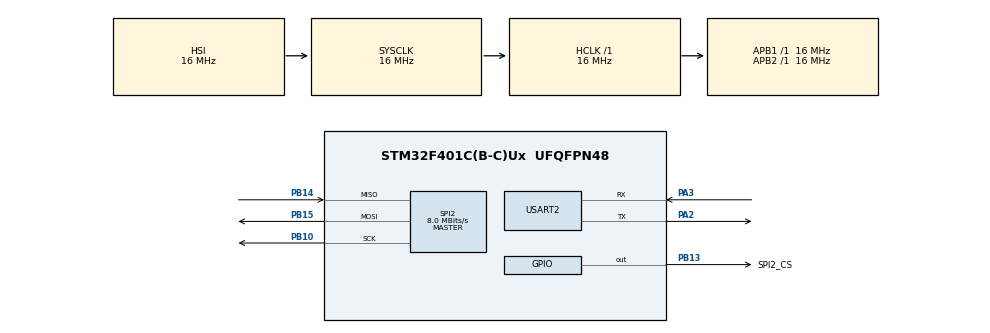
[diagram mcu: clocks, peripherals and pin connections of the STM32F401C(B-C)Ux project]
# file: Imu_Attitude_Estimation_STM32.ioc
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Dma.Request0=SPI2_RX
Dma.Request1=SPI2_TX
Dma.SPI2_RX.0.Direction=DMA_PERIPH_TO_MEMORY
Dma.SPI2_RX.0.FIFOMode=DMA_FIFOMODE_DISABLE
Dma.SPI2_RX.0.Instance=DMA1_Stream3
Dma.SPI2_RX.0.MemDataAlignment=DMA_MDATAALIGN_BYTE
Dma.SPI2_RX.0.MemInc=DMA_MINC_ENABLE
Dma.SPI2_RX.0.Mode=DMA_NORMAL
Dma.SPI2_RX.0.PeriphDataAlignment=DMA_PDATAALIGN_BYTE
Dma.SPI2_RX.0.PeriphInc=DMA_PINC_DISABLE
Dma.SPI2_RX.0.Priority=DMA_PRIORITY_LOW
Dma.SPI2_TX.1.Direction=DMA_MEMORY_TO_PERIPH
Dma.SPI2_TX.1.FIFOMode=DMA_FIFOMODE_DISABLE
Dma.SPI2_TX.1.Instance=DMA1_Stream4
Dma.SPI2_TX.1.MemDataAlignment=DMA_MDATAALIGN_BYTE
Dma.SPI2_TX.1.MemInc=DMA_MINC_ENABLE
Dma.SPI2_TX.1.Mode=DMA_NORMAL
Dma.SPI2_TX.1.PeriphDataAlignment=DMA_PDATAALIGN_BYTE
Dma.SPI2_TX.1.PeriphInc=DMA_PINC_DISABLE
Dma.SPI2_TX.1.Priority=DMA_PRIORITY_LOW
Mcu.Family=STM32F4
Mcu.Name=STM32F401C(B-C)Ux
Mcu.Package=UFQFPN48
NVIC.DMA1_Stream3_IRQn=true\:0\:0\:false\:false\:true\:false\:true\:true
NVIC.DMA1_Stream4_IRQn=true\:0\:0\:false\:false\:true\:false\:true\:true
NVIC.PriorityGroup=NVIC_PRIORITYGROUP_4
NVIC.SPI2_IRQn=true\:0\:0\:false\:false\:true\:true\:true\:true
NVIC.TIM4_IRQn=true\:0\:0\:false\:false\:true\:true\:true\:true
PA2.Mode=Asynchronous
PA2.Signal=USART2_TX
PA3.Mode=Asynchronous
PA3.Signal=USART2_RX
PB10.Mode=Full_Duplex_Master
PB10.Signal=SPI2_SCK
PB13.GPIO_Label=SPI2_CS
PB13.Signal=GPIO_Output
PB14.Mode=Full_Duplex_Master
PB14.Signal=SPI2_MISO
PB15.Mode=Full_Duplex_Master
PB15.Signal=SPI2_MOSI
ProjectManager.HeapSize=0x200
ProjectManager.StackSize=0x400
ProjectManager.TargetToolchain=MDK-ARM V5.32
RCC.AHBFreq_Value=16000000
RCC.APB1Freq_Value=16000000
RCC.APB2Freq_Value=16000000
RCC.CortexFreq_Value=16000000
RCC.HSE_VALUE=25000000
RCC.HSI_VALUE=16000000
RCC.LSE_VALUE=32768
RCC.SYSCLKFreq_VALUE=16000000
RCC.VCOOutputFreq_Value=192000000
SPI2.CalculateBaudRate=8.0 MBits/s
SPI2.Direction=SPI_DIRECTION_2LINES
SPI2.Mode=SPI_MODE_MASTER
SPI2.VirtualType=VM_MASTER
STMicroelectronics.X-CUBE-ALGOBUILD.1.4.0.LibraryCcDSPOoLibraryJjDSPOoLibrary=true
TIM4.Period=9999
TIM4.Prescaler=79
USART2.VirtualMode=VM_ASYNC
VP_STMicroelectronics.X-CUBE-ALGOBUILD_VS_DSPOoLibraryJjLibrary_1.4.0_1.4.0.Mode=DSPOoLibraryJjLibrary
VP_TIM4_VS_ClockSourceINT.Mode=Internal
board=custom

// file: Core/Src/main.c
/* USER CODE BEGIN Header */
/**
  ******************************************************************************
  * @file           : main.c
  * @brief          : Main program body
  ******************************************************************************
  * @attention
  *
  * Copyright (c) 2025 STMicroelectronics.
  * All rights reserved.
  *
  * This software is licensed under terms that can be found in the LICENSE file
  * in the root directory of this software component.
  * If no LICENSE file comes with this software, it is provided AS-IS.
  *
  ******************************************************************************
  */
/* USER CODE END Header */
#include "main.h"

/* USER CODE BEGIN Includes */

#include "stdio.h"
#include "icm_20948.h"
#include "arm_math.h"
#include "imu_data.h"
#include "euler_angles.h"
#include "attitude_complementary.h"
#include "attitude_kalman_extended.h"

/* USER CODE END Includes */

SPI_HandleTypeDef hspi2;
DMA_HandleTypeDef hdma_spi2_rx;
DMA_HandleTypeDef hdma_spi2_tx;

TIM_HandleTypeDef htim4;

UART_HandleTypeDef huart2;

/* USER CODE BEGIN PV */
int sum_gyro_x, sum_gyro_y, sum_gyro_z;
static uint8_t timer_flag = 0;

int16_t mag_x, mag_y, mag_z;
imu_norm imu_norm_var;
euler_angles euler_temp;
quaternion quat_temp;

/* USER CODE END PV */

void SystemClock_Config(void);
static void MX_GPIO_Init(void);
static void MX_DMA_Init(void);
static void MX_SPI2_Init(void);
static void MX_TIM4_Init(void);
static void MX_USART2_UART_Init(void);

/* USER CODE BEGIN 0 */

int16_t kq, kq2;

/* USER CODE END 0 */

int main(void)
{

  /* USER CODE BEGIN 1 */

//	uint8_t address, data;
//	uint32_t test = 0;
	icm_20948_data icm_data;
	int16_t counter_time;

  /* USER CODE END 1 */

  /* MCU Configuration--------------------------------------------------------*/

  /* Reset of all peripherals, Initializes the Flash interface and the Systick. */
  HAL_Init();

  /* Configure the system clock */
  SystemClock_Config();

  /* Initialize all configured peripherals */
  MX_GPIO_Init();
  MX_DMA_Init();
  MX_SPI2_Init();
  MX_TIM4_Init();
  MX_USART2_UART_Init();
  /* USER CODE BEGIN 2 */

	HAL_Delay(100);
	icm_20948_init();
	attitude_init_extended();

//  // SEND SPI
//  HAL_GPIO_WritePin(SPI2_CS_GPIO_Port, SPI2_CS_Pin, GPIO_PIN_RESET);
//  address = 0x7f;
//  data = 0x03 << 4;  // Bank3, SET bit 4 and 5
//  HAL_SPI_Transmit(&hspi2, &address, 1, 100);
//  HAL_SPI_Transmit(&hspi2, &data, 1, 100);
//  HAL_GPIO_WritePin(SPI2_CS_GPIO_Port, SPI2_CS_Pin, GPIO_PIN_SET);

// // SEND - READ SPI
//  HAL_GPIO_WritePin(SPI2_CS_GPIO_Port, SPI2_CS_Pin, GPIO_PIN_RESET); // CS = 0 -> Slave (ICM20948) listen from master
//  address = 0x80 | 0x00;
//  HAL_SPI_Transmit(&hspi2, &address, 1, 100);
//  HAL_SPI_Receive(&hspi2, &data,1, 100);
//  HAL_GPIO_WritePin(SPI2_CS_GPIO_Port, SPI2_CS_Pin, GPIO_PIN_SET);

  /* USER CODE END 2 */

  /* Infinite loop */
  while (1)
  {

    /* USER CODE BEGIN 3 */

		if (timer_flag == 1)
		{
			timer_flag = 0;

			icm_20948_read_data(&icm_data);
			sum_gyro_x += icm_data.x_gyro;
			sum_gyro_y += icm_data.y_gyro;
			sum_gyro_z += icm_data.z_gyro;

			kq = sum_gyro_x;//icm_data.y_magnet;
			kq2 = icm_data.x_accel;
			sensor2imu(icm_data, &imu_norm_var);
		//	run_quaternion_complementary(imu_norm_var, &quat_temp);
		//	complementary_filter_euler(imu_norm_var, &euler_temp);
			run_kalman_extended(imu_norm_var, &quat_temp);
			counter_time++;

			// 1000/30 = 33
			if(counter_time == 30)
			{
				counter_time = 0;
			//	HAL_UART_Transmit(&huart2, (uint8_t *)&euler_temp, 12, 100);
				HAL_UART_Transmit(&huart2, (uint8_t *)&quat_temp, 16, 100);
			}
//			test+=1;
//			HAL_Delay(1000);

//			if(test == 1000)
//			{
//				test = 0;
//			}

		}

  }
  /* USER CODE END 3 */
}

void SystemClock_Config(void)
{
  RCC_OscInitTypeDef RCC_OscInitStruct = {0};
  RCC_ClkInitTypeDef RCC_ClkInitStruct = {0};

  /** Configure the main internal regulator output voltage
  */
  __HAL_RCC_PWR_CLK_ENABLE();
  __HAL_PWR_VOLTAGESCALING_CONFIG(PWR_REGULATOR_VOLTAGE_SCALE2);

  /** Initializes the RCC Oscillators according to the specified parameters
  * in the RCC_OscInitTypeDef structure.
  */
  RCC_OscInitStruct.OscillatorType = RCC_OSCILLATORTYPE_HSI;
  RCC_OscInitStruct.HSIState = RCC_HSI_ON;
  RCC_OscInitStruct.HSICalibrationValue = RCC_HSICALIBRATION_DEFAULT;
  RCC_OscInitStruct.PLL.PLLState = RCC_PLL_NONE;
  if (HAL_RCC_OscConfig(&RCC_OscInitStruct) != HAL_OK)
  {
    Error_Handler();
  }

  /** Initializes the CPU, AHB and APB buses clocks
  */
  RCC_ClkInitStruct.ClockType = RCC_CLOCKTYPE_HCLK|RCC_CLOCKTYPE_SYSCLK
                              |RCC_CLOCKTYPE_PCLK1|RCC_CLOCKTYPE_PCLK2;
  RCC_ClkInitStruct.SYSCLKSource = RCC_SYSCLKSOURCE_HSI;
  RCC_ClkInitStruct.AHBCLKDivider = RCC_SYSCLK_DIV1;
  RCC_ClkInitStruct.APB1CLKDivider = RCC_HCLK_DIV1;
  RCC_ClkInitStruct.APB2CLKDivider = RCC_HCLK_DIV1;

  if (HAL_RCC_ClockConfig(&RCC_ClkInitStruct, FLASH_LATENCY_0) != HAL_OK)
  {
    Error_Handler();
  }
}

static void MX_SPI2_Init(void)
{

  /* SPI2 parameter configuration*/
  hspi2.Instance = SPI2;
  hspi2.Init.Mode = SPI_MODE_MASTER;
  hspi2.Init.Direction = SPI_DIRECTION_2LINES;
  hspi2.Init.DataSize = SPI_DATASIZE_8BIT;
  hspi2.Init.CLKPolarity = SPI_POLARITY_LOW;
  hspi2.Init.CLKPhase = SPI_PHASE_1EDGE;
  hspi2.Init.NSS = SPI_NSS_SOFT;
  hspi2.Init.BaudRatePrescaler = SPI_BAUDRATEPRESCALER_2;
  hspi2.Init.FirstBit = SPI_FIRSTBIT_MSB;
  hspi2.Init.TIMode = SPI_TIMODE_DISABLE;
  hspi2.Init.CRCCalculation = SPI_CRCCALCULATION_DISABLE;
  hspi2.Init.CRCPolynomial = 10;
  if (HAL_SPI_Init(&hspi2) != HAL_OK)
  {
    Error_Handler();
  }

}

static void MX_TIM4_Init(void)
{

  TIM_ClockConfigTypeDef sClockSourceConfig = {0};
  TIM_MasterConfigTypeDef sMasterConfig = {0};

  htim4.Instance = TIM4;
  htim4.Init.Prescaler = 79;
  htim4.Init.CounterMode = TIM_COUNTERMODE_UP;
  htim4.Init.Period = 9999;
  htim4.Init.ClockDivision = TIM_CLOCKDIVISION_DIV1;
  htim4.Init.AutoReloadPreload = TIM_AUTORELOAD_PRELOAD_DISABLE;
  if (HAL_TIM_Base_Init(&htim4) != HAL_OK)
  {
    Error_Handler();
  }
  sClockSourceConfig.ClockSource = TIM_CLOCKSOURCE_INTERNAL;
  if (HAL_TIM_ConfigClockSource(&htim4, &sClockSourceConfig) != HAL_OK)
  {
    Error_Handler();
  }
  sMasterConfig.MasterOutputTrigger = TIM_TRGO_RESET;
  sMasterConfig.MasterSlaveMode = TIM_MASTERSLAVEMODE_DISABLE;
  if (HAL_TIMEx_MasterConfigSynchronization(&htim4, &sMasterConfig) != HAL_OK)
  {
    Error_Handler();
  }
  /* USER CODE BEGIN TIM4_Init 2 */
	htim4.Instance->PSC = SystemCoreClock / (1e6) - 1;
	htim4.Instance->ARR = 1e6 / (SAMPLE_RATE) - 1;
	HAL_TIM_Base_Start_IT(&htim4);
  /* USER CODE END TIM4_Init 2 */

}

static void MX_USART2_UART_Init(void)
{

  huart2.Instance = USART2;
  huart2.Init.BaudRate = 115200;
  huart2.Init.WordLength = UART_WORDLENGTH_8B;
  huart2.Init.StopBits = UART_STOPBITS_1;
  huart2.Init.Parity = UART_PARITY_NONE;
  huart2.Init.Mode = UART_MODE_TX_RX;
  huart2.Init.HwFlowCtl = UART_HWCONTROL_NONE;
  huart2.Init.OverSampling = UART_OVERSAMPLING_16;
  if (HAL_UART_Init(&huart2) != HAL_OK)
  {
    Error_Handler();
  }

}

static void MX_DMA_Init(void)
{

  /* DMA controller clock enable */
  __HAL_RCC_DMA1_CLK_ENABLE();

  /* DMA interrupt init */
  /* DMA1_Stream3_IRQn interrupt configuration */
  HAL_NVIC_SetPriority(DMA1_Stream3_IRQn, 0, 0);
  HAL_NVIC_EnableIRQ(DMA1_Stream3_IRQn);
  /* DMA1_Stream4_IRQn interrupt configuration */
  HAL_NVIC_SetPriority(DMA1_Stream4_IRQn, 0, 0);
  HAL_NVIC_EnableIRQ(DMA1_Stream4_IRQn);

}

static void MX_GPIO_Init(void)
{
  GPIO_InitTypeDef GPIO_InitStruct = {0};

  /* GPIO Ports Clock Enable */
  __HAL_RCC_GPIOA_CLK_ENABLE();
  __HAL_RCC_GPIOB_CLK_ENABLE();

  /*Configure GPIO pin Output Level */
  HAL_GPIO_WritePin(SPI2_CS_GPIO_Port, SPI2_CS_Pin, GPIO_PIN_RESET);

  /*Configure GPIO pin : SPI2_CS_Pin */
  GPIO_InitStruct.Pin = SPI2_CS_Pin;
  GPIO_InitStruct.Mode = GPIO_MODE_OUTPUT_PP;
  GPIO_InitStruct.Pull = GPIO_NOPULL;
  GPIO_InitStruct.Speed = GPIO_SPEED_FREQ_LOW;
  HAL_GPIO_Init(SPI2_CS_GPIO_Port, &GPIO_InitStruct);

}

/* USER CODE BEGIN 4 */

void HAL_TIM_PeriodElapsedCallback(TIM_HandleTypeDef *htim) // 10ms
{
	timer_flag = 1;

}

/* USER CODE END 4 */

void Error_Handler(void)
{
  __disable_irq();
  while (1)
  {
  }
}
